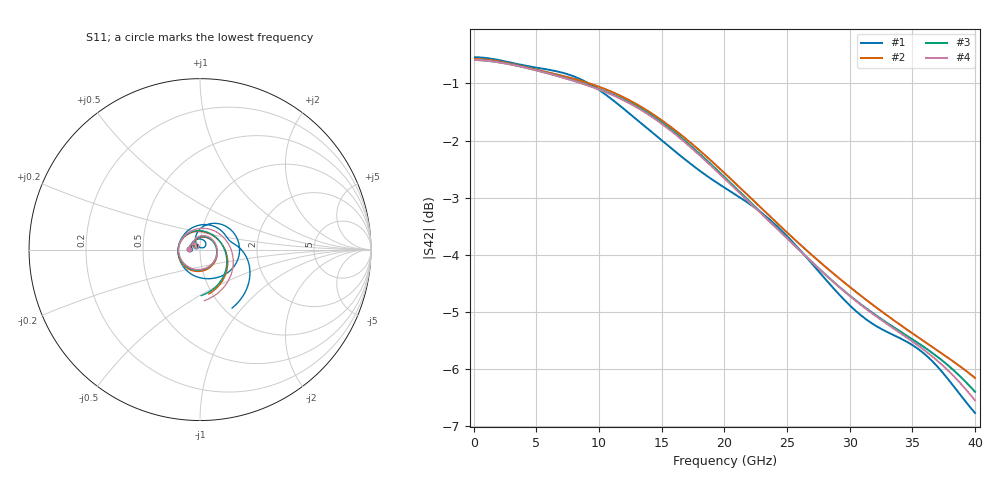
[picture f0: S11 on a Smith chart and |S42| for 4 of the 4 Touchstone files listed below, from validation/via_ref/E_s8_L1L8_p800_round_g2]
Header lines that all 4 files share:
! E_s8_L1L8_p800_round_g2: pair L1→L8, pitch 0.8 mm, two round antipads, 2 GND vias
! stackup: 8-layer 1.6 mm FR-4 (generic)
! ports: 1 P near, 2 N near, 3 P far, 4 N far
# Hz S RI R 50
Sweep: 100 MHz to 40 GHz
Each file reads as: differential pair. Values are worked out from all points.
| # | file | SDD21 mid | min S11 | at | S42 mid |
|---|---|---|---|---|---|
| 1 | cst.s4p | -1.1 dB at 20.1 GHz | -38.5 dB | 5.9 GHz | -2.8 dB at 20.1 GHz |
| 2 | kisi.s4p | -1.0 dB at 20.1 GHz | -35.0 dB | 5.9 GHz | -2.6 dB at 20.1 GHz |
| 3 | openems.s4p | -1.0 dB at 20.1 GHz | -37.2 dB | 5.9 GHz | -2.7 dB at 20.1 GHz |
| 4 | openems_base.s4p | -0.9 dB at 20.1 GHz | -35.8 dB | 5.9 GHz | -2.7 dB at 20.1 GHz |
